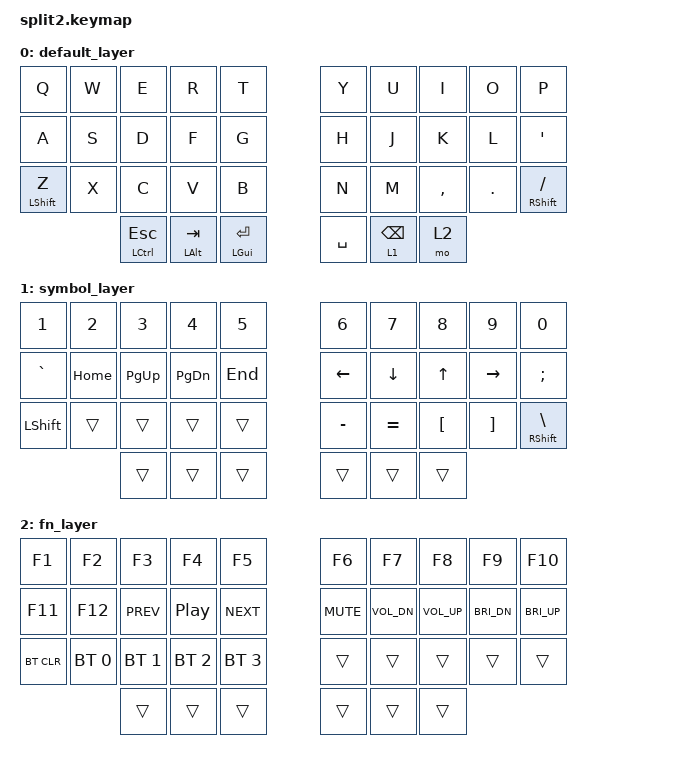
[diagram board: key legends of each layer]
#include <behaviors.dtsi>
#include <dt-bindings/zmk/keys.h>
#include <dt-bindings/zmk/bt.h>

/ {
    keymap {
        compatible = "zmk,keymap";

        default_layer {
            bindings = <
    &kp Q    &kp W    &kp E     &kp R     &kp T                                                 &kp Y     &kp U     &kp I     &kp O     &kp P 
    &kp A    &kp S    &kp D     &kp F     &kp G                                                 &kp H     &kp J     &kp K     &kp L     &kp SQT
    &mt LSHIFT Z    &kp X    &kp C     &kp V     &kp B                                          &kp N     &kp M     &kp COMMA &kp DOT   &mt RSHIFT FSLH
                                &mt LCTRL ESC  &mt LALT TAB  &mt LGUI RET               &kp SPACE &lt 1 BSPC &mo 2
            >;
        };
        symbol_layer {
            bindings = <
    &kp N1       &kp N2    &kp N3     &kp N4     &kp N5                                        &kp N6     &kp N7     &kp N8     &kp N9     &kp N0
    &kp GRAVE    &kp HOME  &kp PG_UP  &kp PG_DN  &kp END                                       &kp LEFT   &kp DOWN   &kp UP     &kp RIGHT  &kp SEMI
    &kp LSHIFT   &trans    &trans     &trans     &trans                                        &kp MINUS  &kp EQUAL  &kp LBKT   &kp RBKT   &mt RSHIFT BSLH
                                      &trans     &trans    &trans                    &trans    &trans     &trans
            >;
        };
        fn_layer {
            bindings = <
    &kp F1    &kp F2    &kp F3      &kp F4     &kp F5                                                 &kp F6     &kp F7     &kp F8     &kp F9     &kp F10 
    &kp F11   &kp F12   &kp C_PREV  &kp C_PP   &kp C_NEXT                                             &kp K_MUTE &kp C_VOL_DN  &kp C_VOL_UP       &kp C_BRI_DN   &kp C_BRI_UP
    &bt BT_CLR  &bt BT_SEL 0    &bt BT_SEL 1     &bt BT_SEL 2     &bt BT_SEL 3                        &trans    &trans      &trans     &trans     &trans
                                    &trans     &trans    &trans                            &trans    &trans     &trans
            >;
        };
    };
};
